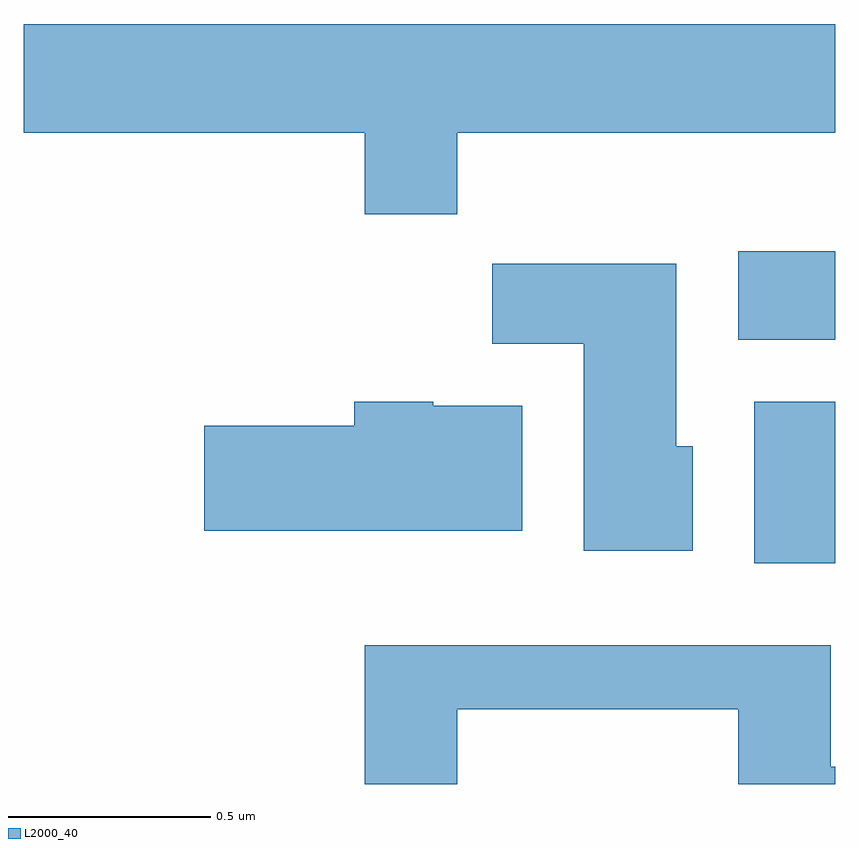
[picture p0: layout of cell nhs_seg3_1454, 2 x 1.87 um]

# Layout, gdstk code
import gdstk
lib = gdstk.Library(unit=1e-6, precision=1e-09)
def R(c, l, rs):  # rectangles x0, y0, x1, y1
    for r in rs: c.add(gdstk.rectangle(r[:2], r[2:], *l))
def P(c, l, *ps):  # polygons
    for p in ps: c.add(gdstk.Polygon(p, *l))
L2000_40 = (2000, 40)

nhs_seg3_1454 = lib.new_cell('nhs_seg3_1454')
R(nhs_seg3_1454, L2000_40, [(197.411,1200.436,197.611,1200.834), (197.371,1200.986,197.611,1201.204)])
P(nhs_seg3_1454, L2000_40, [(196.679,1201.496),(197.611,1201.496),(197.611,1201.764),(195.611,1201.764),(195.611,1201.496),(196.451,1201.496),(196.451,1201.296),(196.679,1201.296)],
  [(197.259,1200.724),(197.219,1200.724),(197.219,1201.174),(196.766,1201.174),(196.766,1200.976),(196.991,1200.976),(196.991,1200.466),(197.259,1200.466)],
  [(196.839,1200.824),(196.62,1200.824),(196.62,1200.834),(196.426,1200.834),(196.426,1200.774),(196.056,1200.774),(196.056,1200.516),(196.839,1200.516)],
  [(196.679,1200.076),(197.371,1200.076),(197.371,1199.892),(197.611,1199.892),(197.611,1199.934),(197.599,1199.934),(197.599,1200.234),(196.451,1200.234),(196.451,1199.892),(196.679,1199.892)])

lib.write_gds('nhs_seg3_1454.gds')
